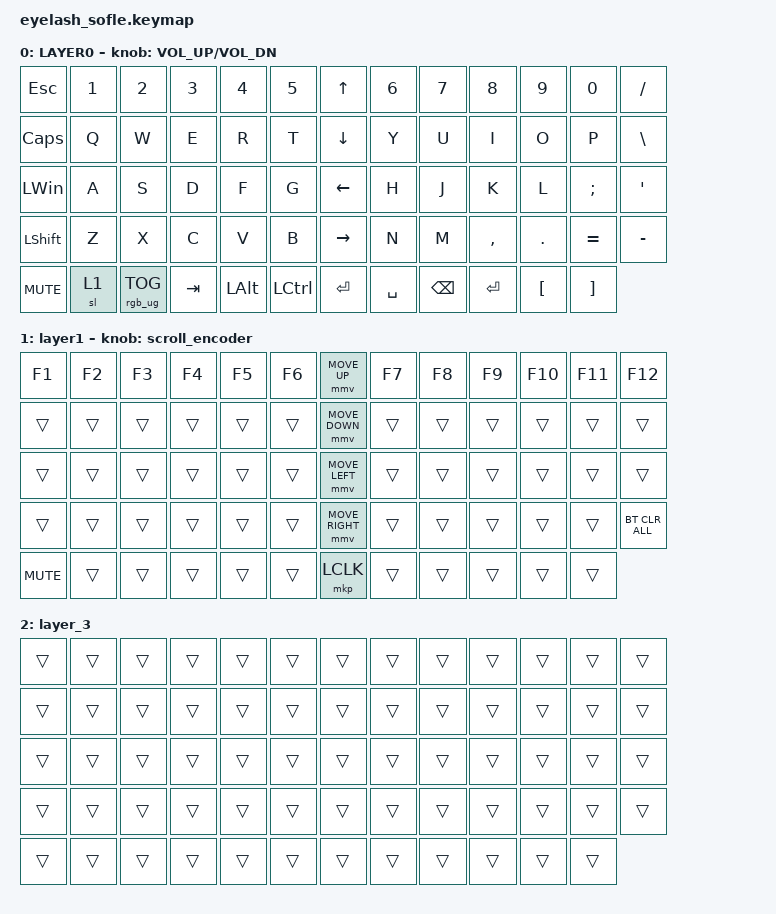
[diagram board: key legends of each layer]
#define ZMK_POINTING_DEFAULT_MOVE_VAL 1200  // 600
#define ZMK_POINTING_DEFAULT_SCRL_VAL 25   // 10

#include <input/processors.dtsi>
#include <zephyr/dt-bindings/input/input-event-codes.h>
#include <behaviors.dtsi>
#include <dt-bindings/zmk/bt.h>
#include <dt-bindings/zmk/keys.h>
#include <dt-bindings/zmk/pointing.h>
#include <dt-bindings/zmk/rgb.h>

&mmv_input_listener { input-processors = <&zip_xy_scaler 2 1>; };

&msc_input_listener { input-processors = <&zip_scroll_scaler 2 1>; };

&msc {
    acceleration-exponent = <1>;      // 0
    time-to-max-speed-ms = <100>;       // 300
    delay-ms = <0>;                   // 0
};

&mmv {
    time-to-max-speed-ms = <500>;
    acceleration-exponent = <1>;
    trigger-period-ms = <16>;
};

/ {
    scroll_encoder: scroll_encoder {
        compatible = "zmk,behavior-sensor-rotate";
        #sensor-binding-cells = <0>;
        bindings = <&msc SCRL_DOWN>, <&msc SCRL_UP>;

        tap-ms = <100>;
    };

    behaviors {
    };

    keymap {
        compatible = "zmk,keymap";

        layer0 {
            bindings = <
&kp ESC       &kp N1  &kp N2           &kp N3   &kp N4        &kp N5              &kp UP_ARROW     &kp N6     &kp N7         &kp N8     &kp N9            &kp N0             &kp SLASH
&kp CLCK      &kp Q   &kp W            &kp E    &kp R         &kp T               &kp DOWN_ARROW   &kp Y      &kp U          &kp I      &kp O             &kp P              &kp BSLH
&kp LEFT_WIN  &kp A   &kp S            &kp D    &kp F         &kp G               &kp LEFT_ARROW   &kp H      &kp J          &kp K      &kp L             &kp SEMI           &kp APOS
&kp LSHFT     &kp Z   &kp X            &kp C    &kp V         &kp B               &kp RIGHT_ARROW  &kp N      &kp M          &kp COMMA  &kp DOT           &kp EQUAL          &kp MINUS
&kp C_MUTE    &sl 1   &rgb_ug RGB_TOG  &kp TAB  &kp LEFT_ALT  &kp LEFT_CONTROL    &kp ENTER        &kp SPACE  &kp BACKSPACE  &kp ENTER  &kp LEFT_BRACKET  &kp RIGHT_BRACKET
            >;

            sensor-bindings = <&inc_dec_kp C_VOLUME_UP C_VOL_DN>;
            display-name = "LAYER0";
        };

        layer_1 {
            bindings = <
&kp F1      &kp F2  &kp F3  &kp F4  &kp F5  &kp F6    &mmv MOVE_UP     &kp F7  &kp F8  &kp F9  &kp F10  &kp F11  &kp F12
&trans      &trans  &trans  &trans  &trans  &trans    &mmv MOVE_DOWN   &trans  &trans  &trans  &trans   &trans   &trans
&trans      &trans  &trans  &trans  &trans  &trans    &mmv MOVE_LEFT   &trans  &trans  &trans  &trans   &trans   &trans
&trans      &trans  &trans  &trans  &trans  &trans    &mmv MOVE_RIGHT  &trans  &trans  &trans  &trans   &trans   &bt BT_CLR_ALL
&kp C_MUTE  &trans  &trans  &trans  &trans  &trans    &mkp LCLK        &trans  &trans  &trans  &trans   &trans
            >;

            display-name = "layer1";
            sensor-bindings = <&scroll_encoder>;
        };

        layer_3 {
            bindings = <
&trans  &trans  &trans  &trans  &trans  &trans    &trans  &trans  &trans  &trans  &trans  &trans  &trans
&trans  &trans  &trans  &trans  &trans  &trans    &trans  &trans  &trans  &trans  &trans  &trans  &trans
&trans  &trans  &trans  &trans  &trans  &trans    &trans  &trans  &trans  &trans  &trans  &trans  &trans
&trans  &trans  &trans  &trans  &trans  &trans    &trans  &trans  &trans  &trans  &trans  &trans  &trans
&trans  &trans  &trans  &trans  &trans  &trans    &trans  &trans  &trans  &trans  &trans  &trans
            >;
        };
    };
};
